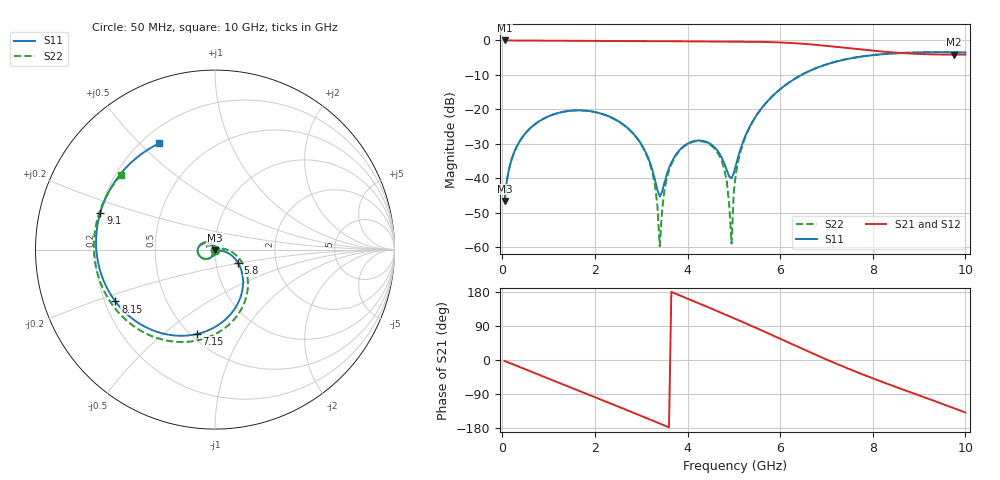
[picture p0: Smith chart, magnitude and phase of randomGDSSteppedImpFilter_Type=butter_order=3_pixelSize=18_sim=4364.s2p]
! freq	dB(S11)	phase(S11)	dB(S12)	phase(S12)
!  dB(S21)	phase(S21)	dB(S22)	phase(S22)
!S-par simulation data
#  GHz  S  DB  R 50
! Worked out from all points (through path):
!   200 points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, 50 MHz to 10 GHz, reference 50 ohm
!   highest |S21| = -0.01 dB at 50 MHz (marker M1); lowest = -4.1 dB at 9.75 GHz (marker M2)
!   group delay of S21, straight-line fit = 141 ps
!   lowest |S11| = -46.5 dB at 50 MHz (marker M3), VSWR 1.01, Z = 50 - j0.471 ohm
!   |S11| at or under -10 dB: start of sweep to 6.463 GHz
!   |S22| runs from -59.7 to -3.4 dB; largest |S21 - S12| = 0
!   S11 on the Smith chart (normalised r, x): 50 MHz: 1.00, -0.01; 5.8 GHz: 1.28, -0.19; 7.15 GHz: 0.54, -0.66; 8.15 GHz: 0.24, -0.23; 9.1 GHz: 0.20, +0.15; 10 GHz: 0.27, +0.57
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0.05  -46.54 -89.2  -0.01 -2.5  -0.01 -2.5  -46.54 -89.2
0.2  -34.57 -99.4  -0.02 -9.9  -0.02 -9.9  -34.57 -99.2
0.5  -26.92 -115.2  -0.04 -24.7  -0.04 -24.7  -26.92 -114.7
1.75  -20.31 -178.1  -0.14 -85.8  -0.14 -85.8  -20.32 -175.9
3.05  -31.19 108.8  -0.18 -150.1  -0.18 -150.1  -31.40 122.0
3.3  -40.54 72.2  -0.20 -162.6  -0.20 -162.6  -42.33 114.5
3.4  -45.26 16.0  -0.21 -167.6  -0.21 -167.6  -59.66 -177.6
3.55  -38.97 -55.9  -0.22 -175.2  -0.22 -175.2  -40.06 -89.7
3.85  -31.49 -87.8  -0.25 169.6  -0.25 169.6  -31.68 -101.2
4.7  -33.05 -121.4  -0.31 126.1  -0.31 126.1  -33.82 -141.8
4.85  -37.69 -105.8  -0.32 118.3  -0.32 118.3  -41.09 -147.1
4.95  -39.99 -63.7  -0.33 113.0  -0.33 113.0  -58.91 -12.9
5  -38.46 -39.3  -0.33 110.4  -0.33 110.4  -43.82 16.0
5.05  -35.93 -24.2  -0.34 107.8  -0.34 107.8  -38.18 16.0
5.8  -16.60 -30.0  -0.49 67.2  -0.49 67.2  -16.59 -21.1
6.7  -8.47 -77.9  -1.19 17.4  -1.19 17.4  -8.43 -69.5
7.15  -6.36 -102.1  -1.78 -6.5  -1.78 -6.5  -6.32 -92.8
8.15  -4.08 -152.5  -3.16 -55.3  -3.16 -55.3  -4.03 -140.0
8.35  -3.86 -162.1  -3.39 -64.4  -3.39 -64.4  -3.81 -148.8
9.1  -3.46 162.1  -3.97 -97.9  -3.97 -97.9  -3.42 179.5
9.75  -3.44 130.2  -4.11 -127.1  -4.11 -127.1  -3.43 152.1
10  -3.50 117.6  -4.10 -138.6  -4.10 -138.6  -3.49 141.3
